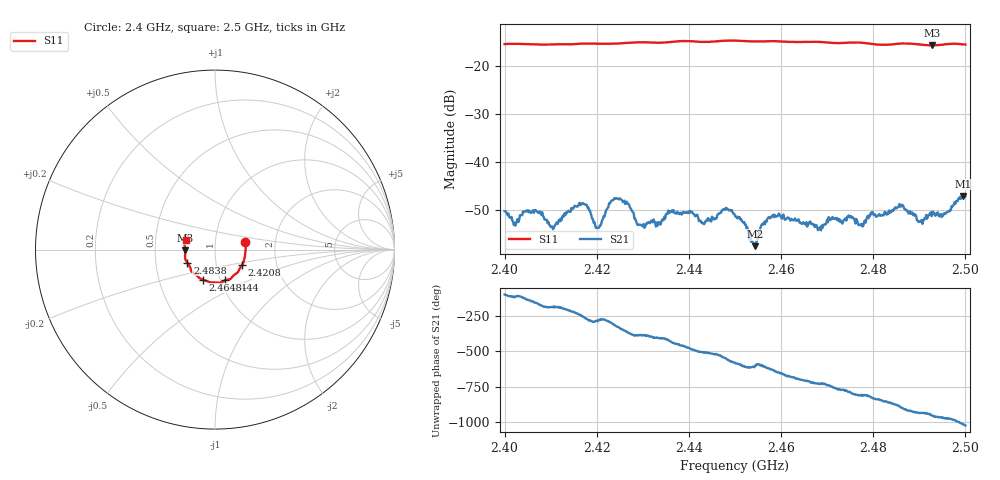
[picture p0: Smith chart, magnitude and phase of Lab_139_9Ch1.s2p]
# Hz S RI R 50
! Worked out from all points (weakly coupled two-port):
!   601 points, 2.4 GHz to 2.5 GHz, reference 50 ohm
!   highest |S21| = -47.12 dB at 2.4995 GHz (marker M1); lowest = -57.7 dB at 2.4543 GHz (marker M2)
!   lowest |S11| = -15.6 dB at 2.4928 GHz (marker M3), VSWR 1.40, Z = 35.7 - j0.315 ohm
!   |S11| at or under -10 dB: start of sweep to end of sweep
!   S12 and S22 are empty: the file has one direction only
!   S11 on the Smith chart (normalised r, x): 2.4 GHz: 1.39, +0.12; 2.4208 GHz: 1.33, -0.24; 2.444 GHz: 1.05, -0.37; 2.4648 GHz: 0.83, -0.29; 2.4838 GHz: 0.73, -0.11; 2.5 GHz: 0.72, +0.08
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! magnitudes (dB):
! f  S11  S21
! 2.4 GHz  -15.3  -50.3
! 2.4022 GHz  -15.3  -52.8
! 2.4072 GHz  -15.4  -50.5
! 2.4105 GHz  -15.4  -54.1
! 2.4167 GHz  -15.2  -48.8
! 2.4208 GHz  -15.2  -53.3
! 2.4243 GHz  -15.2  -47.7
! 2.4292 GHz  -14.9  -53.1
! 2.4333 GHz  -15.0  -52.7
! 2.4362 GHz  -14.9  -50.4
! 2.444 GHz  -14.9  -52.0
! 2.45 GHz  -14.6  -51.3
! 2.4543 GHz  -14.7  -57.7
! 2.4578 GHz  -14.7  -51.5
! 2.4648 GHz  -14.9  -52.6
! 2.4667 GHz  -14.8  -52.9
! 2.4833 GHz  -15.4  -50.8
! 2.4838 GHz  -15.4  -50.6
! 2.4902 GHz  -15.4  -52.5
! 2.4928 GHz  -15.6  -50.5
! 2.4995 GHz  -15.4  -47.1
! 2.5 GHz  -15.4  -47.2
